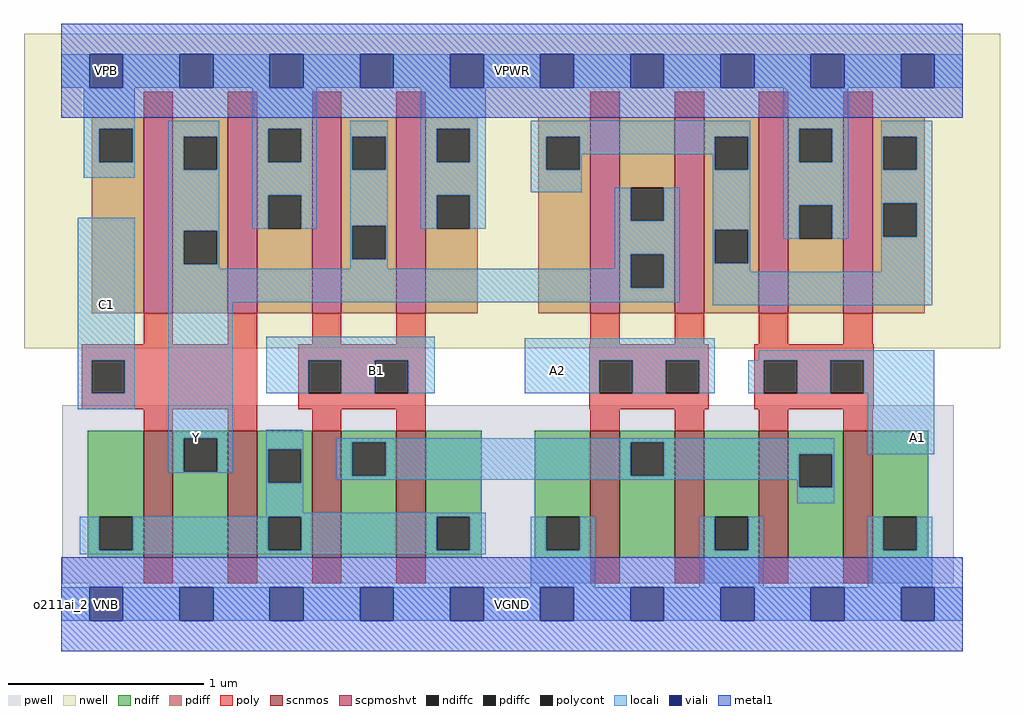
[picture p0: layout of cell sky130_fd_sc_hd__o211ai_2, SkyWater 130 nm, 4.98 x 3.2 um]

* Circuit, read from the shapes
.subckt sky130_fd_sc_hd__o211ai_2 A1 A2 B1 C1 VGND VNB VPB VPWR Y
XM1 Y C1 n1 VNB sky130_fd_pr__nfet_01v8 w=0.65 l=0.15 m=2
XM2 n2 B1 n1 VNB sky130_fd_pr__nfet_01v8 w=0.65 l=0.15 m=2
XM3 n2 A2 VGND VNB sky130_fd_pr__nfet_01v8 w=0.65 l=0.15 m=2
XM4 n2 A1 VGND VNB sky130_fd_pr__nfet_01v8 w=0.65 l=0.15 m=2
XM5 Y C1 VPWR VPB sky130_fd_pr__pfet_01v8_hvt w=1 l=0.15 m=2
XM6 Y B1 VPWR VPB sky130_fd_pr__pfet_01v8_hvt w=1 l=0.15 m=2
XM7 Y A2 n3 VPB sky130_fd_pr__pfet_01v8_hvt w=1 l=0.15 m=2
XM8 VPWR A1 n3 VPB sky130_fd_pr__pfet_01v8_hvt w=1 l=0.15 m=2
.ends

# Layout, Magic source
magic
tech sky130A
magscale 1 2
<< nwell >>
rect -38 261 958 582
<< pwell >>
rect 1 21 911 203
rect 29 -17 63 21
<< scnmos >>
rect 84 47 114 177
rect 170 47 200 177
rect 256 47 286 177
rect 342 47 372 177
rect 540 47 570 177
rect 626 47 656 177
rect 712 47 742 177
rect 798 47 828 177
<< scpmoshvt >>
rect 84 297 114 497
rect 170 297 200 497
rect 256 297 286 497
rect 342 297 372 497
rect 540 297 570 497
rect 626 297 656 497
rect 712 297 742 497
rect 798 297 828 497
<< ndiff >>
rect 27 89 84 177
rect 27 55 39 89
rect 73 55 84 89
rect 27 47 84 55
rect 114 169 170 177
rect 114 135 125 169
rect 159 135 170 169
rect 114 47 170 135
rect 200 158 256 177
rect 200 124 211 158
rect 245 124 256 158
rect 200 89 256 124
rect 200 55 211 89
rect 245 55 256 89
rect 200 47 256 55
rect 286 165 342 177
rect 286 131 297 165
rect 331 131 342 165
rect 286 47 342 131
rect 372 89 429 177
rect 372 55 383 89
rect 417 55 429 89
rect 372 47 429 55
rect 483 89 540 177
rect 483 55 495 89
rect 529 55 540 89
rect 483 47 540 55
rect 570 165 626 177
rect 570 131 581 165
rect 615 131 626 165
rect 570 47 626 131
rect 656 89 712 177
rect 656 55 667 89
rect 701 55 712 89
rect 656 47 712 55
rect 742 153 798 177
rect 742 119 753 153
rect 787 119 798 153
rect 742 47 798 119
rect 828 89 885 177
rect 828 55 839 89
rect 873 55 885 89
rect 828 47 885 55
<< pdiff >>
rect 31 485 84 497
rect 31 451 39 485
rect 73 451 84 485
rect 31 297 84 451
rect 114 477 170 497
rect 114 443 125 477
rect 159 443 170 477
rect 114 381 170 443
rect 114 347 125 381
rect 159 347 170 381
rect 114 297 170 347
rect 200 485 256 497
rect 200 451 211 485
rect 245 451 256 485
rect 200 417 256 451
rect 200 383 211 417
rect 245 383 256 417
rect 200 297 256 383
rect 286 477 342 497
rect 286 443 297 477
rect 331 443 342 477
rect 286 386 342 443
rect 286 352 297 386
rect 331 352 342 386
rect 286 297 342 352
rect 372 485 425 497
rect 372 451 383 485
rect 417 451 425 485
rect 372 417 425 451
rect 372 383 383 417
rect 417 383 425 417
rect 372 297 425 383
rect 487 477 540 497
rect 487 443 495 477
rect 529 443 540 477
rect 487 297 540 443
rect 570 425 626 497
rect 570 391 581 425
rect 615 391 626 425
rect 570 357 626 391
rect 570 323 581 357
rect 615 323 626 357
rect 570 297 626 323
rect 656 477 712 497
rect 656 443 667 477
rect 701 443 712 477
rect 656 382 712 443
rect 656 348 667 382
rect 701 348 712 382
rect 656 297 712 348
rect 742 485 798 497
rect 742 451 753 485
rect 787 451 798 485
rect 742 407 798 451
rect 742 373 753 407
rect 787 373 798 407
rect 742 297 798 373
rect 828 477 881 497
rect 828 443 839 477
rect 873 443 881 477
rect 828 409 881 443
rect 828 375 839 409
rect 873 375 881 409
rect 828 297 881 375
<< ndiffc >>
rect 39 55 73 89
rect 125 135 159 169
rect 211 124 245 158
rect 211 55 245 89
rect 297 131 331 165
rect 383 55 417 89
rect 495 55 529 89
rect 581 131 615 165
rect 667 55 701 89
rect 753 119 787 153
rect 839 55 873 89
<< pdiffc >>
rect 39 451 73 485
rect 125 443 159 477
rect 125 347 159 381
rect 211 451 245 485
rect 211 383 245 417
rect 297 443 331 477
rect 297 352 331 386
rect 383 451 417 485
rect 383 383 417 417
rect 495 443 529 477
rect 581 391 615 425
rect 581 323 615 357
rect 667 443 701 477
rect 667 348 701 382
rect 753 451 787 485
rect 753 373 787 407
rect 839 443 873 477
rect 839 375 873 409
<< poly >>
rect 84 497 114 523
rect 170 497 200 523
rect 256 497 286 523
rect 342 497 372 523
rect 540 497 570 523
rect 626 497 656 523
rect 712 497 742 523
rect 798 497 828 523
rect 84 265 114 297
rect 170 265 200 297
rect 256 265 286 297
rect 342 265 372 297
rect 540 265 570 297
rect 626 265 656 297
rect 712 265 742 297
rect 798 265 828 297
rect 21 249 200 265
rect 21 215 31 249
rect 65 215 200 249
rect 21 199 200 215
rect 242 249 372 265
rect 242 215 252 249
rect 286 215 320 249
rect 354 215 372 249
rect 242 199 372 215
rect 539 249 661 265
rect 539 215 549 249
rect 583 215 617 249
rect 651 215 661 249
rect 539 199 661 215
rect 707 249 829 265
rect 707 215 717 249
rect 751 215 785 249
rect 819 215 829 249
rect 707 199 829 215
rect 84 177 114 199
rect 170 177 200 199
rect 256 177 286 199
rect 342 177 372 199
rect 540 177 570 199
rect 626 177 656 199
rect 712 177 742 199
rect 798 177 828 199
rect 84 21 114 47
rect 170 21 200 47
rect 256 21 286 47
rect 342 21 372 47
rect 540 21 570 47
rect 626 21 656 47
rect 712 21 742 47
rect 798 21 828 47
<< polycont >>
rect 31 215 65 249
rect 252 215 286 249
rect 320 215 354 249
rect 549 215 583 249
rect 617 215 651 249
rect 717 215 751 249
rect 785 215 819 249
<< locali >>
rect 0 527 29 561
rect 63 527 121 561
rect 155 527 213 561
rect 247 527 305 561
rect 339 527 397 561
rect 431 527 489 561
rect 523 527 581 561
rect 615 527 673 561
rect 707 527 765 561
rect 799 527 857 561
rect 891 527 920 561
rect 23 485 75 527
rect 23 451 39 485
rect 73 451 75 485
rect 23 435 75 451
rect 109 477 161 493
rect 109 443 125 477
rect 159 443 161 477
rect 17 249 75 394
rect 17 215 31 249
rect 65 215 75 249
rect 17 199 75 215
rect 109 381 161 443
rect 195 485 261 527
rect 195 451 211 485
rect 245 451 261 485
rect 195 417 261 451
rect 195 383 211 417
rect 245 383 261 417
rect 295 477 333 493
rect 295 443 297 477
rect 331 443 333 477
rect 295 386 333 443
rect 109 347 125 381
rect 159 347 161 381
rect 109 342 161 347
rect 295 352 297 386
rect 331 352 333 386
rect 367 485 433 527
rect 367 451 383 485
rect 417 451 433 485
rect 367 417 433 451
rect 479 477 703 493
rect 479 443 495 477
rect 529 459 667 477
rect 529 443 531 459
rect 479 420 531 443
rect 665 443 667 459
rect 701 443 703 477
rect 367 383 383 417
rect 417 383 433 417
rect 565 391 581 425
rect 615 391 631 425
rect 295 342 333 352
rect 565 357 631 391
rect 565 342 581 357
rect 109 323 581 342
rect 615 323 631 357
rect 109 308 631 323
rect 665 382 703 443
rect 665 348 667 382
rect 701 348 703 382
rect 737 485 803 527
rect 737 451 753 485
rect 787 451 803 485
rect 737 407 803 451
rect 737 373 753 407
rect 787 373 803 407
rect 837 477 889 493
rect 837 443 839 477
rect 873 443 889 477
rect 837 409 889 443
rect 837 375 839 409
rect 873 375 889 409
rect 665 339 703 348
rect 837 339 889 375
rect 109 169 175 308
rect 665 305 889 339
rect 209 249 381 273
rect 209 215 252 249
rect 286 215 320 249
rect 354 215 381 249
rect 473 249 667 271
rect 712 249 891 259
rect 473 215 549 249
rect 583 215 617 249
rect 651 215 667 249
rect 701 215 717 249
rect 751 215 785 249
rect 819 215 891 249
rect 109 135 125 169
rect 159 135 175 169
rect 109 134 175 135
rect 209 158 247 178
rect 209 124 211 158
rect 245 124 247 158
rect 281 165 789 169
rect 281 131 297 165
rect 331 131 581 165
rect 615 153 789 165
rect 823 153 891 215
rect 615 131 753 153
rect 281 127 753 131
rect 209 93 247 124
rect 751 119 753 127
rect 787 119 789 153
rect 751 103 789 119
rect 209 89 433 93
rect 19 55 39 89
rect 73 55 211 89
rect 245 55 383 89
rect 417 55 433 89
rect 19 51 433 55
rect 479 55 495 89
rect 529 55 545 89
rect 479 17 545 55
rect 651 55 667 89
rect 701 55 717 89
rect 651 17 717 55
rect 823 55 839 89
rect 873 55 889 89
rect 823 17 889 55
rect 0 -17 29 17
rect 63 -17 121 17
rect 155 -17 213 17
rect 247 -17 305 17
rect 339 -17 397 17
rect 431 -17 489 17
rect 523 -17 581 17
rect 615 -17 673 17
rect 707 -17 765 17
rect 799 -17 857 17
rect 891 -17 920 17
<< viali >>
rect 29 527 63 561
rect 121 527 155 561
rect 213 527 247 561
rect 305 527 339 561
rect 397 527 431 561
rect 489 527 523 561
rect 581 527 615 561
rect 673 527 707 561
rect 765 527 799 561
rect 857 527 891 561
rect 29 -17 63 17
rect 121 -17 155 17
rect 213 -17 247 17
rect 305 -17 339 17
rect 397 -17 431 17
rect 489 -17 523 17
rect 581 -17 615 17
rect 673 -17 707 17
rect 765 -17 799 17
rect 857 -17 891 17
<< metal1 >>
rect 0 561 920 592
rect 0 527 29 561
rect 63 527 121 561
rect 155 527 213 561
rect 247 527 305 561
rect 339 527 397 561
rect 431 527 489 561
rect 523 527 581 561
rect 615 527 673 561
rect 707 527 765 561
rect 799 527 857 561
rect 891 527 920 561
rect 0 496 920 527
rect 0 17 920 48
rect 0 -17 29 17
rect 63 -17 121 17
rect 155 -17 213 17
rect 247 -17 305 17
rect 339 -17 397 17
rect 431 -17 489 17
rect 523 -17 581 17
rect 615 -17 673 17
rect 707 -17 765 17
rect 799 -17 857 17
rect 891 -17 920 17
rect 0 -48 920 -17
<< labels >>
flabel locali s 857 153 891 187 0 FreeSans 400 0 0 0 A1
port 1 nsew signal input
flabel locali s 489 221 523 255 0 FreeSans 400 0 0 0 A2
port 2 nsew signal input
flabel locali s 305 221 339 255 0 FreeSans 400 0 0 0 B1
port 3 nsew signal input
flabel locali s 121 153 155 187 0 FreeSans 400 0 0 0 Y
port 9 nsew signal output
flabel locali s 29 289 63 323 0 FreeSans 400 0 0 0 C1
port 4 nsew signal input
flabel pwell s 29 -17 63 17 0 FreeSans 200 0 0 0 VNB
port 6 nsew ground bidirectional
flabel nwell s 29 527 63 561 0 FreeSans 200 0 0 0 VPB
port 7 nsew power bidirectional
flabel metal1 s 29 -17 63 17 0 FreeSans 200 0 0 0 VGND
port 5 nsew ground bidirectional abutment
flabel metal1 s 29 527 63 561 0 FreeSans 200 0 0 0 VPWR
port 8 nsew power bidirectional abutment
rlabel comment s 0 0 0 0 4 o211ai_2
rlabel metal1 s 0 -48 920 48 1 VGND
port 5 nsew ground bidirectional abutment
rlabel metal1 s 0 496 920 592 1 VPWR
port 8 nsew power bidirectional abutment
<< properties >>
string FIXED_BBOX 0 0 920 544
string GDS_END 783804
string GDS_FILE $PDKPATH/libs.ref/sky130_fd_sc_hd/gds/sky130_fd_sc_hd.gds
string GDS_START 776408
string LEFclass CORE
string LEFsite unithd
string LEFsymmetry X Y R90
string path 0.000 0.000 4.600 0.000 
<< end >>
